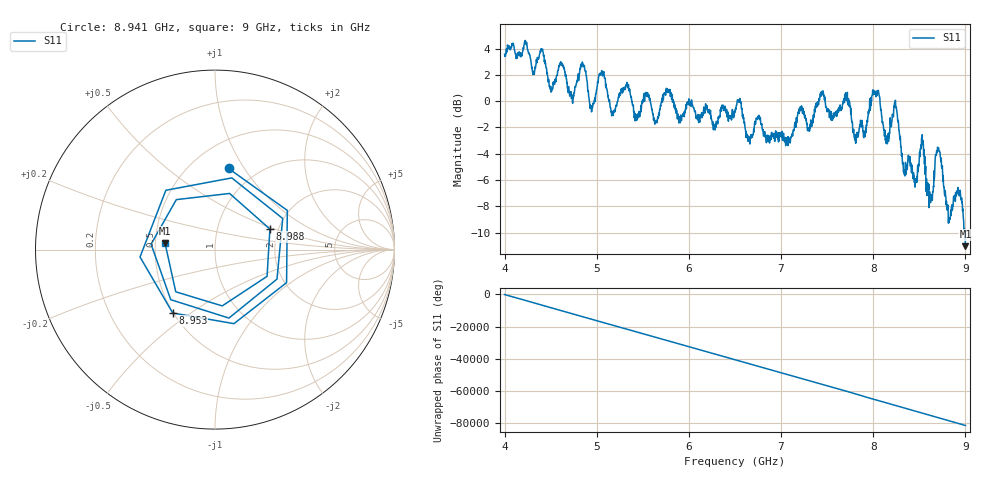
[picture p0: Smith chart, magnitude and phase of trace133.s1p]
! Created with skrf 1.8.0 (http://scikit-rf.org).
# Hz S RI R 50.0
!freq ReS11 ImS11
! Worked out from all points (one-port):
!   1601 points, 4 GHz to 9 GHz, reference 50 ohm
!   lowest |S11| = -11.0 dB at 9 GHz (marker M1), VSWR 1.78, Z = 28.1 + j2.24 ohm
!   |S11| at or under -10 dB: 8.997344 GHz to end of sweep
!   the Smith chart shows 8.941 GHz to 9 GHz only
!   S11 on the Smith chart (normalised r, x): 8.941 GHz: 0.75, +0.85; 8.953 GHz: 0.50, -0.43; 8.988 GHz: 1.80, +0.46; 9 GHz: 0.56, +0.04
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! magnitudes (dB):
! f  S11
! 4 GHz  3.6
! 4.403 GHz  3.9
! 4.506 GHz  0.7
! 4.625 GHz  2.9
! 4.731 GHz  0.2
! 4.853 GHz  2.8
! 4.944 GHz  -0.8
! 5.053 GHz  2.3
! 5.169 GHz  -0.9
! 5.25 GHz  0.6
! 5.875 GHz  -1.4
! 6.5 GHz  -0.7
! 7.125 GHz  -2.6
! 7.441 GHz  0.7
! 7.75 GHz  -0.4
! 7.819 GHz  -2.6
! 8.038 GHz  0.8
! 8.147 GHz  -3.0
! 8.238 GHz  0.0
! 8.375 GHz  -4.6
! 8.534 GHz  -3.2
! 8.631 GHz  -7.1
! 8.703 GHz  -3.8
! 8.822 GHz  -9.2
! 8.941 GHz  -6.8
! 8.953 GHz  -7.4
! 8.988 GHz  -9.7
! 9 GHz  -11.0
